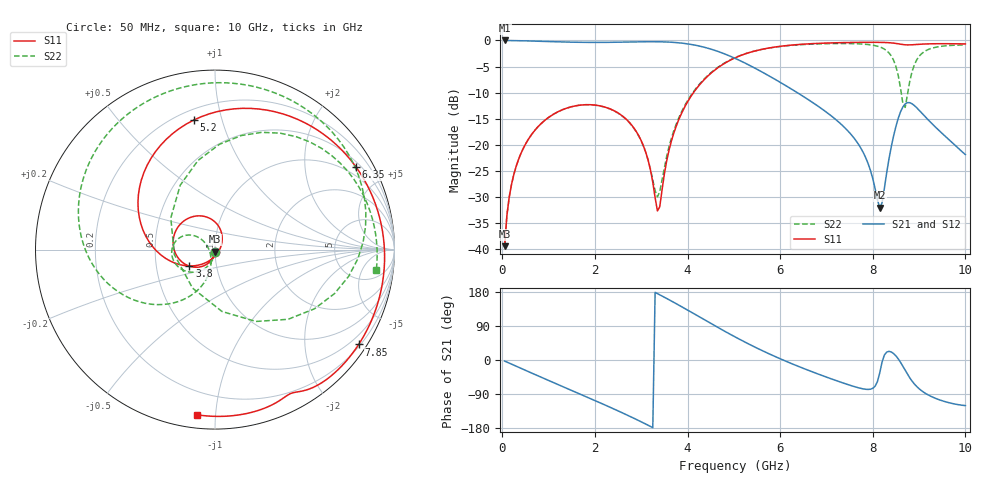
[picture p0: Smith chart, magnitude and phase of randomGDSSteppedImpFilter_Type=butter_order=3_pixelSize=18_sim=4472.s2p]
! freq	dB(S11)	phase(S11)	dB(S12)	phase(S12)
!  dB(S21)	phase(S21)	dB(S22)	phase(S22)
!S-par simulation data
#  GHz  S  DB  R 50
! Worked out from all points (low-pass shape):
!   200 points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, 50 MHz to 10 GHz, reference 50 ohm
!   highest |S21| = -0.01 dB at 50 MHz (marker M1); lowest = -32.1 dB at 8.15 GHz (marker M2)
!   |S21| within 3 dB of the highest: start of sweep to 4.917 GHz
!   lowest |S11| = -39.4 dB at 50 MHz (marker M3), VSWR 1.02, Z = 49.9 - j1.06 ohm
!   |S11| at or under -10 dB: start of sweep to 4.13 GHz
!   |S22| runs from -39.4 to -0.6 dB; largest |S21 - S12| = 0
!   S11 on the Smith chart (normalised r, x): 50 MHz: 1.00, -0.02; 3.8 GHz: 0.74, -0.14; 5.2 GHz: 0.26, +0.81; 6.35 GHz: 0.67, +3.59; 7.85 GHz: 0.25, -3.31; 10 GHz: 0.07, -0.89
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0.05  -39.44 -92.5  -0.01 -2.8  -0.01 -2.8  -39.43 -91.6
0.2  -27.56 -102.6  -0.03 -11.0  -0.03 -11.0  -27.55 -99.4
0.5  -19.90 -121.7  -0.08 -27.2  -0.08 -27.2  -19.89 -113.8
1.75  -12.34 160.7  -0.37 -93.7  -0.37 -93.7  -12.35 -169.5
2.85  -16.89 85.6  -0.28 -154.2  -0.28 -154.2  -16.95 146.6
3.4  -31.88 -61.7  -0.26 172.1  -0.26 172.1  -29.00 -137.5
3.8  -15.42 -147.4  -0.45 145.6  -0.45 145.6  -15.07 -106.8
4.4  -7.15 160.6  -1.39 103.8  -1.39 103.8  -7.02 -136.5
5.05  -3.25 110.1  -3.53 59.4  -3.53 59.4  -3.21 -173.9
5.2  -2.72 99.4  -4.16 49.8  -4.16 49.8  -2.69 177.7
6.35  -0.81 30.2  -9.90 -14.7  -9.90 -14.7  -0.87 118.2
6.7  -0.61 13.3  -11.89 -31.5  -11.89 -31.5  -0.70 101.0
7.85  -0.36 -33.4  -22.53 -77.3  -22.53 -77.3  -0.75 38.5
8.15  -0.37 -44.2  -32.06 -34.2  -32.06 -34.2  -1.25 14.0
8.35  -0.44 -51.2  -22.71 22.9  -22.71 22.9  -2.39 -11.3
8.55  -0.65 -57.9  -14.93 3.0  -14.93 3.0  -6.73 -60.3
8.65  -0.79 -60.5  -12.74 -16.5  -12.74 -16.5  -12.10 -120.3
8.75  -0.86 -62.4  -11.92 -37.6  -11.92 -37.6  -10.37 144.4
8.9  -0.80 -65.7  -12.50 -63.5  -12.50 -63.5  -4.62 87.5
9.05  -0.71 -69.7  -13.84 -80.7  -13.84 -80.7  -2.58 60.8
9.45  -0.63 -81.0  -17.43 -105.6  -17.43 -105.6  -1.16 23.4
10  -0.67 -96.4  -21.88 -120.4  -21.88 -120.4  -0.86 -7.1
